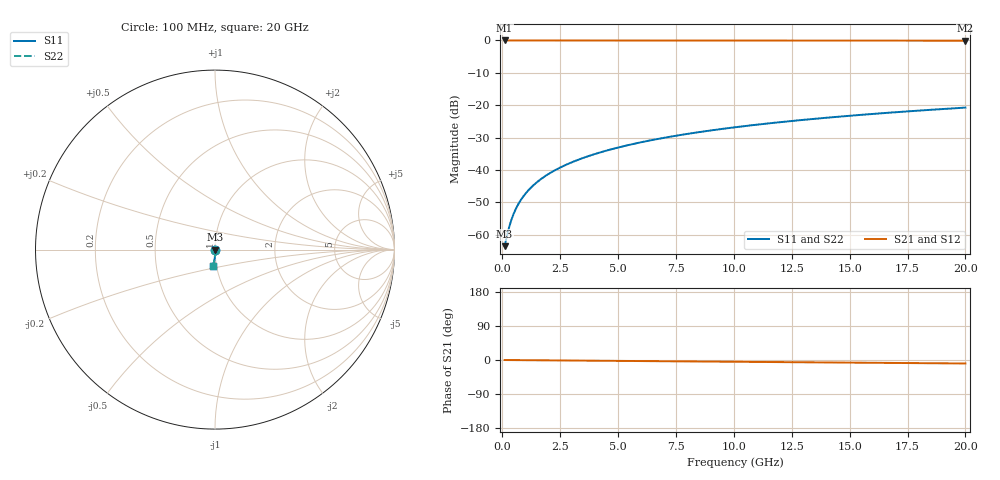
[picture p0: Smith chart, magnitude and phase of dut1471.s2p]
! Touchstone file exported from HFSS 2026.1.0
!  File:  C:/ffzhzh/LocalFiles/Ansys_Project_Files/temp_train_TSV_1471_1783198365_18472.aedt
!  Generated:  04:54:07 AM Jul  5, 2026
!  Design:  TSV
!  Project:  temp_train_TSV_1471_1783198365_18472
! Variables:
!  h_bsmrdl = 2um
!  h_ox = 20um
!  h_rdl = 5um
!  h_sub = 81.61um
!  h_tmrdl = 5um
!  h_tsv = 81.61um
!  h_via = 3um
!  l_bsmrdl = 300um
!  l_sub = 408.5um
!  l_tmrdl = 200um
!  m_sub = 200um
!  pitch = 10.49um
!  r_tsv = 4.25um
!  s_tmrdl = 10um
!  w_bsmrdl = 18um
!  w_sub = 500um
!  w_tmrdl = 12um
!  x_tsv_center1 = 206um
!  x_tsv_center2 = 524um
!  x_tsv_center3 = 736um
!  x_tsv_center4 = 1054um
!  x_tsv_center5 = 1266um
!  x_tsv_center6 = 1584um
# GHz S MA R 50.000000
! Terminal data exported
! Port[1] = TSV1_1_T1
! Port[2] = TSV1_1_T2
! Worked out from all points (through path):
!   200 points, 100 MHz to 20 GHz, reference 50 ohm
!   highest |S21| = 0.00 dB at 100 MHz (marker M1); lowest = -0.1 dB at 20 GHz (marker M2)
!   group delay of S21, straight-line fit = 1.27 ps
!   lowest |S11| = -63.5 dB at 100 MHz (marker M3), VSWR 1.00, Z = 50.1 - j0.0367 ohm
!   |S11| at or under -10 dB: start of sweep to end of sweep
!   |S22| runs from -63.5 to -20.7 dB; largest |S21 - S12| = 3.1e-15
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0.1  0.0006701 -33.1  0.9994 -0.1  0.9994 -0.1  0.0006701 -33.1
! Gamma 0 0 0 0
! Port Impedance 50 0 50 0
0.2  0.000965 -51.3  0.9994 -0.1  0.9994 -0.1  0.000965 -51.3
0.3  0.001335 -60.9  0.9993 -0.2  0.9993 -0.2  0.001335 -60.9
0.4  0.001738 -66.6  0.9993 -0.2  0.9993 -0.2  0.001738 -66.6
0.5  0.002158 -70.4  0.9993 -0.2  0.9993 -0.2  0.002158 -70.4
0.6  0.002586 -73.2  0.9992 -0.3  0.9992 -0.3  0.002586 -73.2
0.8  0.003453 -76.9  0.9992 -0.4  0.9992 -0.4  0.003453 -76.9
1.1  0.004763 -80.2  0.9991 -0.5  0.9991 -0.5  0.004763 -80.2
1.5  0.006518 -82.6  0.9991 -0.7  0.9991 -0.7  0.006518 -82.6
1.8  0.007839 -83.7  0.999 -0.9  0.999 -0.9  0.007839 -83.7
2.1  0.009166 -84.6  0.9989 -1.0  0.9989 -1.0  0.009166 -84.6
2.7  0.01184 -85.7  0.9988 -1.3  0.9988 -1.3  0.01184 -85.7
3.5  0.01543 -86.7  0.9986 -1.7  0.9986 -1.7  0.01543 -86.7
4.2  0.01861 -87.4  0.9983 -2.0  0.9983 -2.0  0.01861 -87.4
5  0.02228 -88.1  0.9981 -2.4  0.9981 -2.4  0.02228 -88.1
5.9  0.02643 -88.7  0.9978 -2.8  0.9978 -2.8  0.02643 -88.7
6.8  0.03061 -89.4  0.9975 -3.2  0.9975 -3.2  0.03061 -89.4
8.3  0.0376 -90.4  0.997 -3.9  0.997 -3.9  0.0376 -90.4
10.1  0.046 -91.5  0.9964 -4.7  0.9964 -4.7  0.046 -91.5
13.4  0.0614 -93.4  0.9951 -6.2  0.9951 -6.2  0.0614 -93.4
16.7  0.07676 -95.2  0.9937 -7.7  0.9937 -7.7  0.07676 -95.2
20  0.09205 -96.9  0.992 -9.2  0.992 -9.2  0.09205 -96.9
